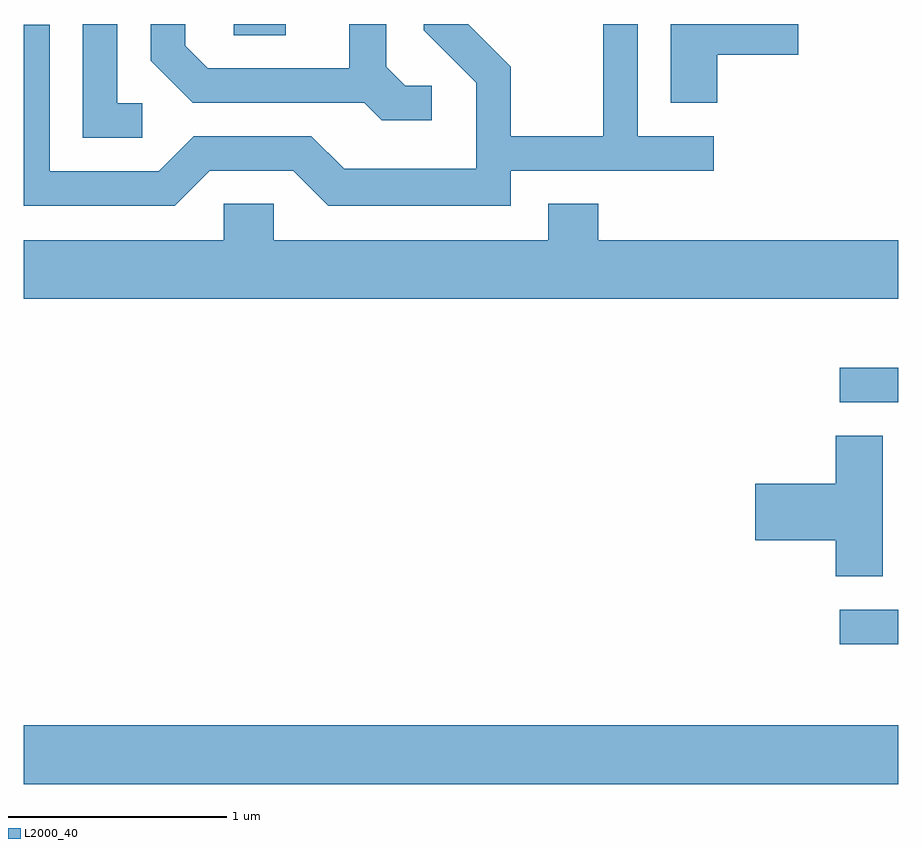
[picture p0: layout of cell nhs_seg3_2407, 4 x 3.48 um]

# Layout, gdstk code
import gdstk
lib = gdstk.Library(unit=1e-6, precision=1e-09)
def R(c, l, rs):  # rectangles x0, y0, x1, y1
    for r in rs: c.add(gdstk.rectangle(r[:2], r[2:], *l))
def P(c, l, *ps):  # polygons
    for p in ps: c.add(gdstk.Polygon(p, *l))
L2000_40 = (2000, 40)

nhs_seg3_2407 = lib.new_cell('nhs_seg3_2407')
R(nhs_seg3_2407, L2000_40, [(255.611,1170.416,259.611,1170.684), (259.343,1171.056,259.611,1171.214), (259.343,1172.161,259.611,1172.319), (256.571,1173.841,256.809,1173.892)])
P(nhs_seg3_2407, L2000_40, [(258.784,1173.751),(259.154,1173.751),(259.154,1173.892),(258.571,1173.892),(258.571,1173.531),(258.784,1173.531)],
  [(257.478,1173.609),(257.356,1173.609),(257.269,1173.697),(257.269,1173.892),(257.101,1173.892),(257.101,1173.689),(256.452,1173.689),(256.349,1173.792),(256.349,1173.892),(256.191,1173.892),(256.191,1173.724),(256.384,1173.531),(257.169,1173.531),(257.248,1173.451),(257.478,1173.451)],
  [(256.153,1173.529),(256.039,1173.529),(256.039,1173.892),(255.881,1173.892),(255.881,1173.371),(256.153,1173.371)],
  [(256.462,1173.221),(256.844,1173.221),(257.004,1173.061),(257.839,1173.061),(257.839,1173.221),(258.767,1173.221),(258.767,1173.379),(258.419,1173.379),(258.419,1173.892),(258.261,1173.892),(258.261,1173.379),(257.839,1173.379),(257.839,1173.697),(257.644,1173.892),(257.441,1173.892),(257.441,1173.864),(257.681,1173.624),(257.681,1173.229),(257.077,1173.229),(256.927,1173.379),(256.389,1173.379),(256.229,1173.219),(255.729,1173.219),(255.729,1173.889),(255.611,1173.889),(255.611,1173.061),(256.302,1173.061)],
  [(259.611,1172.904),(258.239,1172.904),(258.239,1173.069),(258.011,1173.069),(258.011,1172.904),(256.754,1172.904),(256.754,1173.069),(256.526,1173.069),(256.526,1172.904),(255.611,1172.904),(255.611,1172.636),(259.611,1172.636)],
  [(259.539,1172.009),(259.326,1172.009),(259.326,1171.789),(258.956,1171.789),(258.956,1171.531),(259.326,1171.531),(259.326,1171.366),(259.539,1171.366)])

lib.write_gds('nhs_seg3_2407.gds')
